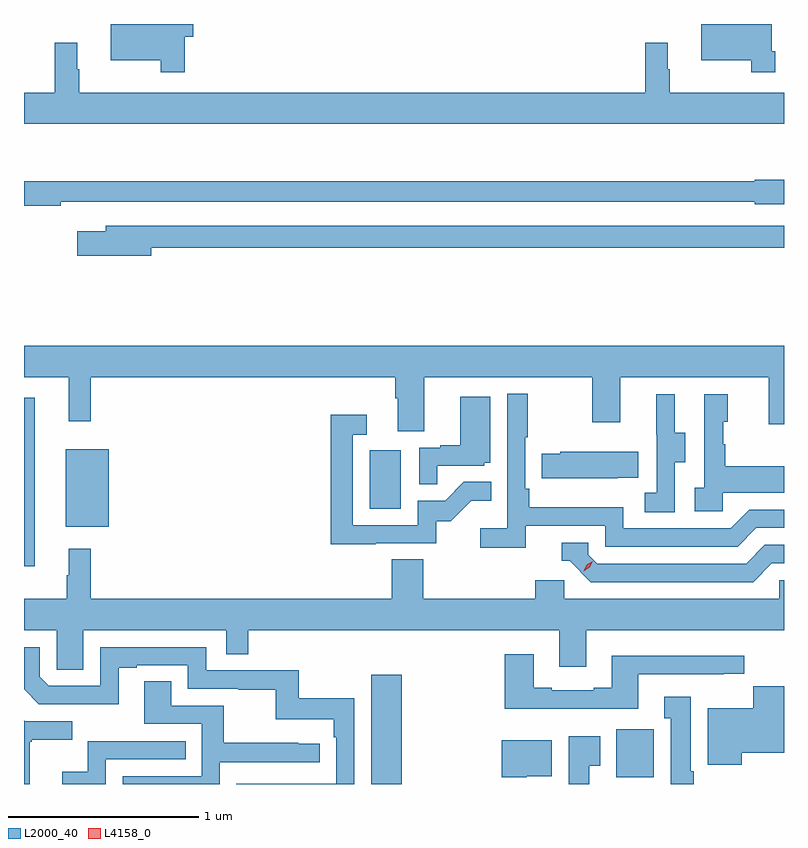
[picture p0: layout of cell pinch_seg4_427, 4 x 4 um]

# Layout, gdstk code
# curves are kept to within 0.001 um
import gdstk
lib = gdstk.Library(unit=1e-6, precision=1e-09)
def R(c, l, rs):  # rectangles x0, y0, x1, y1
    for r in rs: c.add(gdstk.rectangle(r[:2], r[2:], *l))
def P(c, l, *ps):  # polygons
    for p in ps: c.add(gdstk.Polygon(p, *l))
L2000_40 = (2000, 40)
L4158_0 = (4158, 0)

pinch_seg4_427 = lib.new_cell('pinch_seg4_427')
R(pinch_seg4_427, L2000_40, [(926.345,785.354,926.506,785.929), (927.635,785.39,927.831,785.641), (924.517,786.5,924.574,787.387), (924.737,786.707,924.964,787.117), (926.336,786.804,926.5,787.111)])
P(pinch_seg4_427, L2000_40, [(925.364,789.286),(925.408,789.286),(925.408,789.354),(924.974,789.354),(924.974,789.164),(925.236,789.164),(925.236,789.099),(925.364,789.099)],
  [(928.472,789.211),(928.452,789.211),(928.452,789.354),(928.082,789.354),(928.082,789.164),(928.344,789.164),(928.344,789.099),(928.472,789.099)],
  [(928.517,788.992),(927.916,788.992),(927.916,789.116),(927.904,789.116),(927.904,789.256),(927.787,789.256),(927.787,788.992),(924.808,788.992),(924.808,789.116),(924.796,789.116),(924.796,789.256),(924.679,789.256),(924.679,788.992),(924.517,788.992),(924.517,788.828),(928.517,788.828)],
  [(924.71,788.418),(928.362,788.418),(928.362,788.405),(928.517,788.405),(928.517,788.535),(928.362,788.535),(928.362,788.527),(924.517,788.527),(924.517,788.398),(924.71,788.398)],
  [(925.186,788.176),(928.517,788.176),(928.517,788.292),(924.947,788.292),(924.947,788.263),(924.798,788.263),(924.798,788.134),(925.186,788.134)],
  [(926.623,787.496),(927.508,787.496),(927.508,787.257),(927.655,787.257),(927.655,787.496),(928.436,787.496),(928.436,787.248),(928.517,787.248),(928.517,787.66),(924.517,787.66),(924.517,787.496),(924.752,787.496),(924.752,787.263),(924.869,787.263),(924.869,787.496),(926.471,787.496),(926.471,787.384),(926.483,787.384),(926.483,787.21),(926.623,787.21)],
  [(927.158,786.714),(927.576,786.714),(927.576,786.603),(928.273,786.603),(928.372,786.702),(928.517,786.702),(928.517,786.798),(928.335,786.798),(928.236,786.699),(927.672,786.699),(927.672,786.811),(927.176,786.811),(927.176,786.907),(927.156,786.907),(927.156,787.18),(927.169,787.18),(927.169,787.408),(927.06,787.408),(927.06,786.7),(926.919,786.7),(926.919,786.598),(927.158,786.598)],
  [(927.942,787.048),(927.997,787.048),(927.997,787.203),(927.943,787.203),(927.943,787.405),(927.845,787.405),(927.845,787.191),(927.846,787.191),(927.846,786.887),(927.783,786.887),(927.783,786.784),(927.942,786.784)],
  [(928.194,786.887),(928.517,786.887),(928.517,787.027),(928.207,787.027),(928.207,787.142),(928.197,787.142),(928.197,787.26),(928.222,787.26),(928.222,787.405),(928.098,787.405),(928.098,786.914),(928.047,786.914),(928.047,786.789),(928.194,786.789)],
  [(926.693,787.029),(926.94,787.029),(926.94,787.044),(926.971,787.044),(926.971,787.393),(926.813,787.393),(926.813,787.138),(926.709,787.138),(926.709,787.125),(926.598,787.125),(926.598,786.931),(926.693,786.931)],
  [(926.369,786.621),(926.688,786.621),(926.688,786.738),(926.764,786.738),(926.871,786.845),(926.975,786.845),(926.975,786.944),(926.831,786.944),(926.733,786.846),(926.589,786.846),(926.589,786.717),(926.247,786.717),(926.247,787.191),(926.32,787.191),(926.32,787.297),(926.131,787.297),(926.131,786.616),(926.369,786.616)],
  [(927.641,786.965),(927.749,786.965),(927.749,787.102),(927.339,787.102),(927.339,787.092),(927.241,787.092),(927.241,786.962),(927.641,786.962)],
  [(928.453,786.516),(928.517,786.516),(928.517,786.612),(928.416,786.612),(928.317,786.513),(927.534,786.513),(927.486,786.561),(927.486,786.624),(927.347,786.624),(927.347,786.528),(927.39,786.528),(927.501,786.417),(928.354,786.417)],
  [(924.829,786.164),(925.581,786.164),(925.581,786.037),(925.697,786.037),(925.697,786.164),(927.335,786.164),(927.335,785.97),(927.475,785.97),(927.475,786.164),(928.517,786.164),(928.517,786.426),(928.491,786.426),(928.491,786.328),(927.36,786.328),(927.36,786.426),(927.209,786.426),(927.209,786.328),(926.618,786.328),(926.618,786.536),(926.453,786.536),(926.453,786.328),(924.869,786.328),(924.869,786.592),(924.752,786.592),(924.752,786.452),(924.741,786.452),(924.741,786.328),(924.517,786.328),(924.517,786.164),(924.69,786.164),(924.69,785.956),(924.829,785.956)],
  [(926.256,785.806),(925.963,785.806),(925.963,785.952),(925.476,785.952),(925.476,786.075),(924.918,786.075),(924.918,785.871),(924.648,785.871),(924.6,785.919),(924.6,786.075),(924.517,786.075),(924.517,785.852),(924.594,785.775),(925.015,785.774),(925.015,785.967),(925.111,785.967),(925.111,785.979),(925.38,785.979),(925.38,785.856),(925.645,785.856),(925.645,785.851),(925.842,785.851),(925.842,785.696),(926.147,785.696),(926.147,785.6),(926.16,785.6),(926.16,785.355),(925.633,785.356),(925.633,785.354),(926.256,785.354)],
  [(927.751,785.931),(928.199,785.931),(928.199,785.933),(928.308,785.933),(928.308,786.028),(927.611,786.028),(927.611,785.86),(927.515,785.86),(927.515,785.847),(927.295,785.847),(927.295,785.86),(927.199,785.86),(927.199,786.037),(927.047,786.037),(927.047,785.75),(927.751,785.75)],
  [(925.548,785.469),(926.074,785.469),(926.074,785.565),(925.961,785.565),(925.961,785.57),(925.568,785.57),(925.568,785.766),(925.291,785.766),(925.291,785.894),(925.151,785.894),(925.151,785.67),(925.452,785.67),(925.452,785.394),(925.036,785.394),(925.036,785.354),(925.548,785.354)],
  [(928.294,785.519),(928.517,785.519),(928.517,785.868),(928.355,785.868),(928.355,785.752),(928.115,785.752),(928.115,785.456),(928.294,785.456)],
  [(928.042,785.422),(928.027,785.422),(928.027,785.812),(927.887,785.812),(927.887,785.699),(927.92,785.699),(927.92,785.354),(928.042,785.354)],
  [(924.547,785.577),(924.559,785.577),(924.559,785.588),(924.772,785.588),(924.772,785.685),(924.522,785.685),(924.517,785.69),(924.517,785.354),(924.547,785.354)],
  [(927.493,785.449),(927.55,785.449),(927.55,785.605),(927.383,785.605),(927.383,785.354),(927.493,785.354)],
  [(927.162,785.396),(927.295,785.396),(927.295,785.584),(927.032,785.584),(927.032,785.39),(927.162,785.39)],
  [(924.948,785.484),(925.367,785.484),(925.367,785.58),(924.852,785.58),(924.852,785.419),(924.719,785.419),(924.719,785.354),(924.948,785.354)])
P(pinch_seg4_427, L4158_0, [(927.463,786.475),(927.463,786.475),(927.479,786.508),(927.51,786.527),(927.51,786.527),(927.51,786.526),(927.494,786.494),(927.463,786.475)])

lib.write_gds('pinch_seg4_427.gds')
